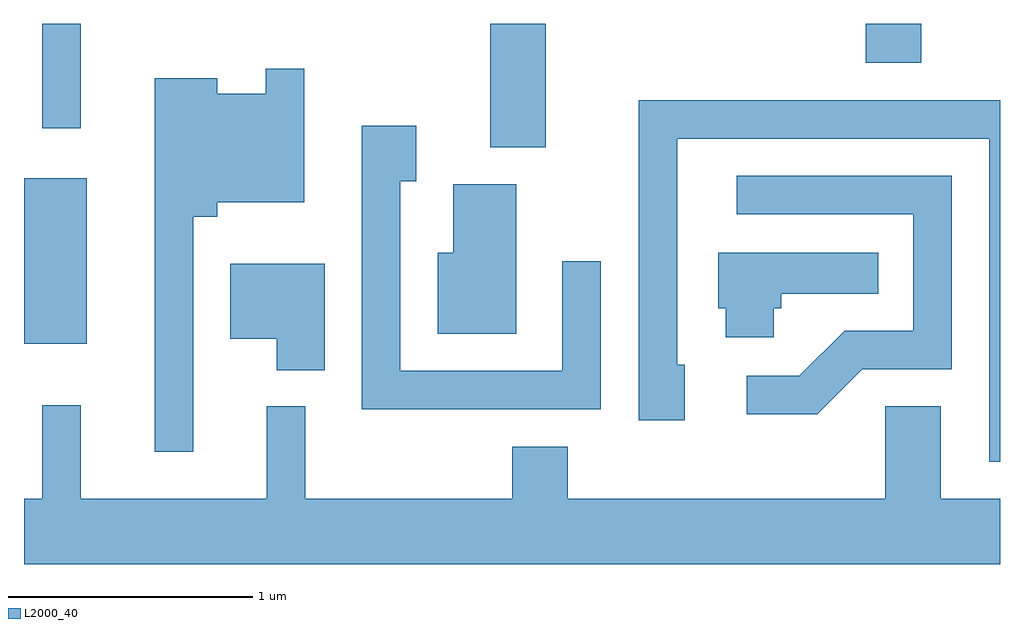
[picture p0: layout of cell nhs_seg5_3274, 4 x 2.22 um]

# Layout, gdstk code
import gdstk
lib = gdstk.Library(unit=1e-6, precision=1e-09)
def R(c, l, rs):  # rectangles x0, y0, x1, y1
    for r in rs: c.add(gdstk.rectangle(r[:2], r[2:], *l))
def P(c, l, *ps):  # polygons
    for p in ps: c.add(gdstk.Polygon(p, *l))
L2000_40 = (2000, 40)

nhs_seg5_3274 = lib.new_cell('nhs_seg5_3274')
R(nhs_seg5_3274, L2000_40, [(281.611,1508.761,281.869,1509.439), (283.521,1509.566,283.749,1510.072), (281.686,1509.643,281.844,1510.072), (285.061,1509.911,285.289,1510.072)])
P(nhs_seg5_3274, L2000_40, [(282.304,1509.281),(282.404,1509.281),(282.404,1509.341),(282.759,1509.341),(282.759,1509.888),(282.601,1509.888),(282.601,1509.784),(282.404,1509.784),(282.404,1509.849),(282.146,1509.849),(282.146,1508.318),(282.304,1508.318)],
  [(285.611,1509.759),(284.131,1509.759),(284.131,1508.446),(284.319,1508.446),(284.319,1508.674),(284.289,1508.674),(284.289,1509.601),(285.566,1509.601),(285.566,1508.276),(285.611,1508.276)],
  [(283.974,1509.098),(283.816,1509.098),(283.816,1508.649),(283.154,1508.649),(283.154,1509.426),(283.219,1509.426),(283.219,1509.654),(282.996,1509.654),(282.996,1508.491),(283.974,1508.491)],
  [(285.047,1508.656),(285.414,1508.656),(285.414,1509.449),(284.533,1509.449),(284.533,1509.291),(285.256,1509.291),(285.256,1508.814),(284.974,1508.814),(284.789,1508.629),(284.573,1508.629),(284.573,1508.471),(284.862,1508.471)],
  [(283.629,1509.414),(283.371,1509.414),(283.371,1509.134),(283.306,1509.134),(283.306,1508.801),(283.629,1508.801)],
  [(284.684,1508.906),(284.714,1508.906),(284.714,1508.966),(285.113,1508.966),(285.113,1509.134),(284.456,1509.134),(284.456,1508.906),(284.486,1508.906),(284.486,1508.786),(284.684,1508.786)],
  [(282.844,1509.089),(282.456,1509.089),(282.456,1508.781),(282.646,1508.781),(282.646,1508.651),(282.844,1508.651)],
  [(285.611,1508.124),(285.369,1508.124),(285.369,1508.504),(285.141,1508.504),(285.141,1508.124),(283.839,1508.124),(283.839,1508.339),(283.611,1508.339),(283.611,1508.124),(282.764,1508.124),(282.764,1508.503),(282.606,1508.503),(282.606,1508.124),(281.844,1508.124),(281.844,1508.508),(281.686,1508.508),(281.686,1508.124),(281.611,1508.124),(281.611,1507.856),(285.611,1507.856)])

lib.write_gds('nhs_seg5_3274.gds')
